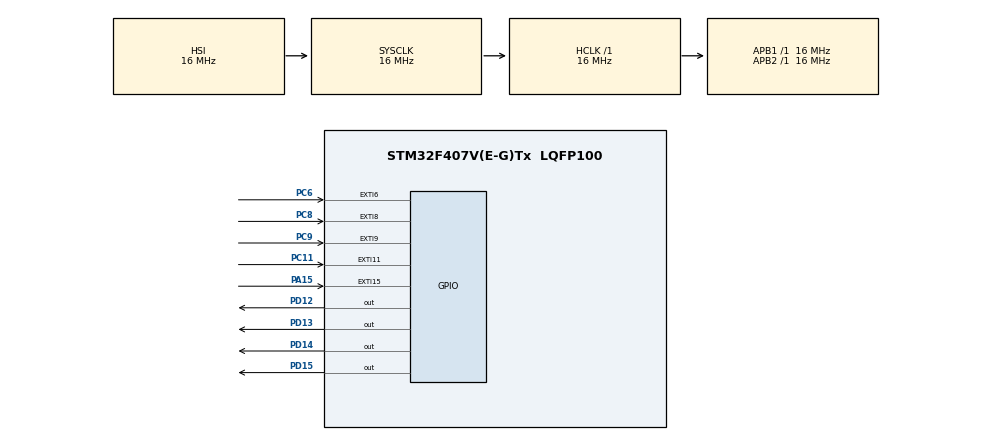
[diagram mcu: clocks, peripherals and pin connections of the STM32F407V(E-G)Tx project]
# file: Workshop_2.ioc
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Mcu.Family=STM32F4
Mcu.Name=STM32F407V(E-G)Tx
Mcu.Package=LQFP100
NVIC.EXTI15_10_IRQn=true\:0\:0\:false\:false\:true\:true\:true
NVIC.EXTI9_5_IRQn=true\:0\:0\:false\:false\:true\:true\:true
NVIC.PriorityGroup=NVIC_PRIORITYGROUP_4
PA13.Mode=Serial_Wire
PA13.Signal=SYS_JTMS-SWDIO
PA14.Mode=Serial_Wire
PA14.Signal=SYS_JTCK-SWCLK
PA15.GPIO_ModeDefaultEXTI=GPIO_MODE_IT_FALLING
PA15.Signal=GPXTI15
PC11.GPIO_ModeDefaultEXTI=GPIO_MODE_IT_FALLING
PC11.Signal=GPXTI11
PC6.GPIO_ModeDefaultEXTI=GPIO_MODE_IT_FALLING
PC6.Signal=GPXTI6
PC8.GPIO_ModeDefaultEXTI=GPIO_MODE_IT_FALLING
PC8.Signal=GPXTI8
PC9.GPIO_ModeDefaultEXTI=GPIO_MODE_IT_FALLING
PC9.Signal=GPXTI9
PD12.PinState=GPIO_PIN_SET
PD12.Signal=GPIO_Output
PD13.PinState=GPIO_PIN_SET
PD13.Signal=GPIO_Output
PD14.PinState=GPIO_PIN_SET
PD14.Signal=GPIO_Output
PD15.PinState=GPIO_PIN_SET
PD15.Signal=GPIO_Output
ProjectManager.HeapSize=0x200
ProjectManager.StackSize=0x400
ProjectManager.TargetToolchain=STM32CubeIDE
RCC.AHBFreq_Value=16000000
RCC.APB1Freq_Value=16000000
RCC.APB2Freq_Value=16000000
RCC.CortexFreq_Value=16000000
RCC.HSE_VALUE=25000000
RCC.HSI_VALUE=16000000
RCC.LSE_VALUE=32768
RCC.SYSCLKFreq_VALUE=16000000
RCC.VCOOutputFreq_Value=192000000
board=custom

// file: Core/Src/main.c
/* USER CODE BEGIN Header */
/**
  ******************************************************************************
  * @file           : main.c
  * @brief          : Main program body
  ******************************************************************************
  * @attention
  *
  * <h2><center>&copy; Copyright (c) 2021 STMicroelectronics.
  * All rights reserved.</center></h2>
  *
  * This software component is licensed by ST under BSD 3-Clause license,
  * the "License"; You may not use this file except in compliance with the
  * License. You may obtain a copy of the License at:
  *                        opensource.org/licenses/BSD-3-Clause
  *
  ******************************************************************************
  */
/* USER CODE END Header */

#include "main.h"

void SystemClock_Config(void);
static void MX_GPIO_Init(void);

int main(void)
{

  /* MCU Configuration--------------------------------------------------------*/

  /* Reset of all peripherals, Initializes the Flash interface and the Systick. */
  HAL_Init();

  /* Configure the system clock */
  SystemClock_Config();

  /* Initialize all configured peripherals */
  MX_GPIO_Init();

  /* Infinite loop */
  /* USER CODE BEGIN WHILE */
  while (1)
  {
	    uint16_t pin[] = {GPIO_PIN_14, GPIO_PIN_15, GPIO_PIN_12, GPIO_PIN_13};
	    if (getState()){
	    	if (getOrder() == 1){
	    		for (uint8_t i = 0; i < 2; i++) {
	    			HAL_GPIO_WritePin(GPIOD, pin[i]|pin[i+2], GPIO_PIN_SET);
	    			HAL_Delay(getDelay());
	    			HAL_GPIO_WritePin(GPIOD, pin[i]|pin[i+2], GPIO_PIN_RESET);
	    			HAL_Delay(getDelay());
	    		}
	    	}
	    	else if (getOrder() == 2){
	    		for (uint8_t i = 0; i < 4; i++) {
	    			HAL_GPIO_WritePin(GPIOD, pin[i], GPIO_PIN_SET);
	    			HAL_Delay(getDelay());
	    			HAL_GPIO_WritePin(GPIOD, pin[i], GPIO_PIN_RESET);
	    			HAL_Delay(getDelay());
	    		}
	    	}
	    	else if (getOrder() == 3){
	    		uint8_t i = 0;
	    		HAL_GPIO_WritePin(GPIOD, GPIO_PIN_All, GPIO_PIN_SET);
	    		HAL_Delay(getDelay());
			 	HAL_GPIO_WritePin(GPIOD, pin[i+3], GPIO_PIN_RESET);
			 	HAL_Delay(getDelay());
			 	HAL_GPIO_WritePin(GPIOD, pin[i+2], GPIO_PIN_RESET);
			 	HAL_Delay(getDelay());
			 	HAL_GPIO_WritePin(GPIOD, pin[i+1], GPIO_PIN_RESET);
			 	HAL_Delay(getDelay());
			 	HAL_GPIO_WritePin(GPIOD, pin[i], GPIO_PIN_RESET);
			 	HAL_Delay(getDelay());
			 	HAL_GPIO_WritePin(GPIOD, GPIO_PIN_All, GPIO_PIN_RESET);
	    	}
	    }
	    else  	HAL_GPIO_WritePin(GPIOD, GPIO_PIN_All, GPIO_PIN_RESET);

    /* USER CODE END WHILE */

  }
}

void SystemClock_Config(void)
{
  RCC_OscInitTypeDef RCC_OscInitStruct = {0};
  RCC_ClkInitTypeDef RCC_ClkInitStruct = {0};

  /** Configure the main internal regulator output voltage
  */
  __HAL_RCC_PWR_CLK_ENABLE();
  __HAL_PWR_VOLTAGESCALING_CONFIG(PWR_REGULATOR_VOLTAGE_SCALE1);
  /** Initializes the CPU, AHB and APB busses clocks
  */
  RCC_OscInitStruct.OscillatorType = RCC_OSCILLATORTYPE_HSI;
  RCC_OscInitStruct.HSIState = RCC_HSI_ON;
  RCC_OscInitStruct.HSICalibrationValue = RCC_HSICALIBRATION_DEFAULT;
  RCC_OscInitStruct.PLL.PLLState = RCC_PLL_NONE;
  if (HAL_RCC_OscConfig(&RCC_OscInitStruct) != HAL_OK)
  {
    Error_Handler();
  }
  /** Initializes the CPU, AHB and APB busses clocks
  */
  RCC_ClkInitStruct.ClockType = RCC_CLOCKTYPE_HCLK|RCC_CLOCKTYPE_SYSCLK
                              |RCC_CLOCKTYPE_PCLK1|RCC_CLOCKTYPE_PCLK2;
  RCC_ClkInitStruct.SYSCLKSource = RCC_SYSCLKSOURCE_HSI;
  RCC_ClkInitStruct.AHBCLKDivider = RCC_SYSCLK_DIV1;
  RCC_ClkInitStruct.APB1CLKDivider = RCC_HCLK_DIV1;
  RCC_ClkInitStruct.APB2CLKDivider = RCC_HCLK_DIV1;

  if (HAL_RCC_ClockConfig(&RCC_ClkInitStruct, FLASH_LATENCY_0) != HAL_OK)
  {
    Error_Handler();
  }
}

static void MX_GPIO_Init(void)
{
  GPIO_InitTypeDef GPIO_InitStruct = {0};

  /* GPIO Ports Clock Enable */
  __HAL_RCC_GPIOD_CLK_ENABLE();
  __HAL_RCC_GPIOC_CLK_ENABLE();
  __HAL_RCC_GPIOA_CLK_ENABLE();

  /*Configure GPIO pin Output Level */
  HAL_GPIO_WritePin(GPIOD, GPIO_PIN_12|GPIO_PIN_13|GPIO_PIN_14|GPIO_PIN_15, GPIO_PIN_SET);

  /*Configure GPIO pins : PD12 PD13 PD14 PD15 */
  GPIO_InitStruct.Pin = GPIO_PIN_12|GPIO_PIN_13|GPIO_PIN_14|GPIO_PIN_15;
  GPIO_InitStruct.Mode = GPIO_MODE_OUTPUT_PP;
  GPIO_InitStruct.Pull = GPIO_NOPULL;
  GPIO_InitStruct.Speed = GPIO_SPEED_FREQ_LOW;
  HAL_GPIO_Init(GPIOD, &GPIO_InitStruct);

  /*Configure GPIO pins : PC6 PC8 PC9 PC11 */
  GPIO_InitStruct.Pin = GPIO_PIN_6|GPIO_PIN_8|GPIO_PIN_9|GPIO_PIN_11;
  GPIO_InitStruct.Mode = GPIO_MODE_IT_FALLING;
  GPIO_InitStruct.Pull = GPIO_NOPULL;
  HAL_GPIO_Init(GPIOC, &GPIO_InitStruct);

  /*Configure GPIO pin : PA15 */
  GPIO_InitStruct.Pin = GPIO_PIN_15;
  GPIO_InitStruct.Mode = GPIO_MODE_IT_FALLING;
  GPIO_InitStruct.Pull = GPIO_NOPULL;
  HAL_GPIO_Init(GPIOA, &GPIO_InitStruct);

  /* EXTI interrupt init*/
  HAL_NVIC_SetPriority(EXTI9_5_IRQn, 0, 0);
  HAL_NVIC_EnableIRQ(EXTI9_5_IRQn);

  HAL_NVIC_SetPriority(EXTI15_10_IRQn, 0, 0);
  HAL_NVIC_EnableIRQ(EXTI15_10_IRQn);

}

void Error_Handler(void)
{
}

/************************ (C) COPYRIGHT STMicroelectronics *****END OF FILE****/
